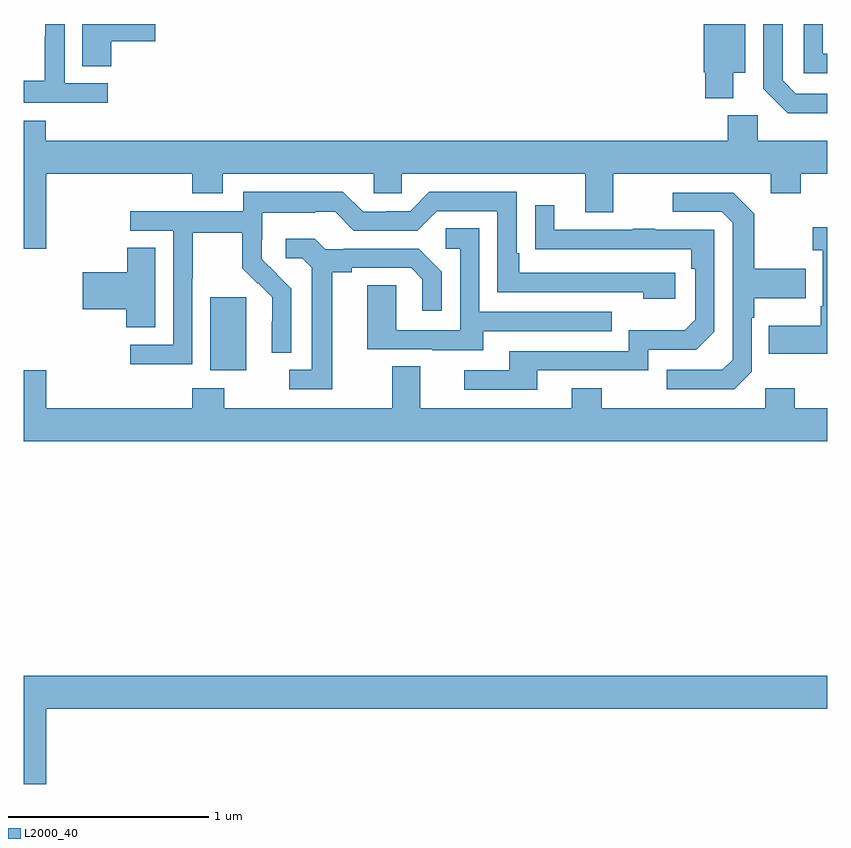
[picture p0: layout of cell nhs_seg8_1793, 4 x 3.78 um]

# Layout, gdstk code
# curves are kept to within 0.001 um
import gdstk
lib = gdstk.Library(unit=1e-6, precision=1e-09)
def R(c, l, rs):  # rectangles x0, y0, x1, y1
    for r in rs: c.add(gdstk.rectangle(r[:2], r[2:], *l))
def P(c, l, *ps):  # polygons
    for p in ps: c.add(gdstk.Polygon(p, *l))
L2000_40 = (2000, 40)

nhs_seg8_1793 = lib.new_cell('nhs_seg8_1793')
R(nhs_seg8_1793, L2000_40, [(225.929,1126.178,226.108,1126.539)])
P(nhs_seg8_1793, L2000_40, [(225.437,1127.813),(225.655,1127.813),(225.655,1127.9),(225.293,1127.9),(225.293,1127.689),(225.437,1127.689)],
  [(229,1127.553),(228.843,1127.553),(228.777,1127.619),(228.777,1127.9),(228.681,1127.9),(228.681,1127.577),(228.802,1127.456),(229,1127.456)],
  [(229,1127.751),(228.978,1127.751),(228.978,1127.9),(228.882,1127.9),(228.882,1127.655),(229,1127.655)],
  [(228.532,1127.657),(228.592,1127.657),(228.592,1127.9),(228.385,1127.9),(228.385,1127.661),(228.392,1127.661),(228.392,1127.531),(228.532,1127.531)],
  [(225.418,1127.604),(225.204,1127.604),(225.204,1127.9),(225.108,1127.9),(225.108,1127.84),(225.106,1127.84),(225.106,1127.617),(225,1127.617),(225,1127.508),(225.418,1127.508)],
  [(225.112,1127.156),(225.839,1127.156),(225.839,1127.057),(225.991,1127.057),(225.991,1127.156),(226.743,1127.156),(226.743,1127.058),(226.881,1127.058),(226.881,1127.156),(227.795,1127.156),(227.795,1126.962),(227.935,1126.962),(227.935,1127.156),(228.719,1127.156),(228.719,1127.057),(228.867,1127.057),(228.867,1127.156),(229,1127.156),(229,1127.32),(228.654,1127.32),(228.654,1127.446),(228.503,1127.446),(228.503,1127.32),(225.11,1127.32),(225.11,1127.419),(225,1127.419),(225,1126.782),(225.112,1126.782)],
  [(225.84,1126.636),(225.843,1126.636),(225.843,1126.86),(226.087,1126.86),(226.087,1126.685),(226.164,1126.608),(226.167,1126.611),(226.238,1126.541),(226.238,1126.418),(226.236,1126.418),(226.236,1126.264),(226.332,1126.264),(226.332,1126.582),(226.186,1126.73),(226.186,1126.827),(226.188,1126.827),(226.188,1126.961),(226.451,1126.961),(226.451,1126.965),(226.551,1126.965),(226.644,1126.872),(226.959,1126.872),(227.055,1126.968),(227.358,1126.968),(227.358,1126.566),(228.083,1126.566),(228.083,1126.532),(228.244,1126.532),(228.244,1126.662),(227.467,1126.662),(227.467,1126.759),(227.454,1126.759),(227.454,1127.064),(227.019,1127.064),(226.923,1126.968),(226.805,1126.968),(226.805,1126.965),(226.689,1126.965),(226.589,1127.065),(226.092,1127.065),(226.092,1126.968),(225.531,1126.968),(225.531,1126.872),(225.744,1126.872),(225.744,1126.305),(225.531,1126.305),(225.531,1126.207),(225.84,1126.207)],
  [(228.624,1126.17),(228.624,1126.439),(228.637,1126.439),(228.637,1126.535),(228.893,1126.535),(228.893,1126.683),(228.637,1126.683),(228.637,1126.955),(228.531,1127.061),(228.231,1127.061),(228.231,1126.965),(228.474,1126.965),(228.528,1126.911),(228.528,1126.23),(228.477,1126.179),(228.201,1126.179),(228.201,1126.083),(228.537,1126.083)],
  [(227.557,1126.176),(228.108,1126.176),(228.108,1126.278),(228.348,1126.278),(228.438,1126.368),(228.438,1126.875),(228.143,1126.875),(228.143,1126.88),(228.031,1126.88),(228.031,1126.875),(227.641,1126.875),(227.641,1126.999),(227.545,1126.999),(227.545,1126.78),(228.322,1126.779),(228.322,1126.682),(228.342,1126.682),(228.342,1126.428),(228.289,1126.375),(228.012,1126.375),(228.012,1126.272),(227.417,1126.272),(227.417,1126.176),(227.193,1126.176),(227.193,1126.08),(227.557,1126.08)],
  [(229,1126.888),(228.927,1126.888),(228.927,1126.775),(228.978,1126.775),(228.978,1126.495),(228.966,1126.495),(228.966,1126.399),(228.709,1126.399),(228.709,1126.259),(229,1126.259)],
  [(227.287,1126.371),(227.927,1126.371),(227.927,1126.467),(227.268,1126.467),(227.268,1126.883),(227.1,1126.883),(227.1,1126.782),(227.172,1126.782),(227.172,1126.377),(226.854,1126.377),(226.854,1126.601),(226.709,1126.601),(226.709,1126.281),(227.033,1126.281),(227.033,1126.277),(227.287,1126.277)],
  [(226.537,1126.664),(226.633,1126.664),(226.633,1126.686),(226.928,1126.686),(226.985,1126.629),(226.985,1126.473),(227.082,1126.473),(227.082,1126.666),(226.966,1126.782),(226.594,1126.782),(226.594,1126.779),(226.5,1126.779),(226.448,1126.831),(226.305,1126.831),(226.305,1126.734),(226.386,1126.734),(226.433,1126.687),(226.433,1126.179),(226.323,1126.179),(226.323,1126.083),(226.537,1126.083)],
  [(225.655,1126.787),(225.517,1126.787),(225.517,1126.664),(225.294,1126.664),(225.294,1126.481),(225.512,1126.481),(225.512,1126.39),(225.655,1126.39)],
  [(229,1125.988),(228.837,1125.988),(228.837,1126.087),(228.69,1126.087),(228.69,1125.988),(227.877,1125.988),(227.877,1126.087),(227.729,1126.087),(227.729,1125.988),(226.975,1125.988),(226.975,1126.196),(226.835,1126.196),(226.835,1125.988),(225.999,1125.988),(225.999,1126.087),(225.839,1126.087),(225.839,1125.988),(225.112,1125.988),(225.112,1126.177),(225,1126.177),(225,1125.824),(229,1125.824)],
  [(225.112,1124.492),(229,1124.492),(229,1124.656),(225,1124.656),(225,1124.118),(225.112,1124.118)])

lib.write_gds('nhs_seg8_1793.gds')
